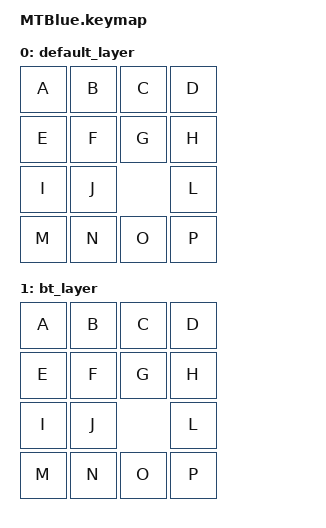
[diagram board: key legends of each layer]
#include <behaviors.dtsi>
#include <dt-bindings/zmk/keys.h>
#include <dt-bindings/zmk/bt.h>

/ {
    keymap {
        compatible = "zmk,keymap";

        default_layer {
            bindings = <
                &kp A   &kp B   &kp C   &kp D
                &kp E   &kp F   &kp G   &kp H
                &kp I   &kp J           &kp L
                &kp M   &kp N   &kp O   &kp P
            >;
        };

        bt_layer {
            bindings = <
                &kp A   &kp B   &kp C   &kp D
                &kp E   &kp F   &kp G   &kp H
                &kp I   &kp J           &kp L
                &kp M   &kp N   &kp O   &kp P
            >;
        };
    
    };
}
